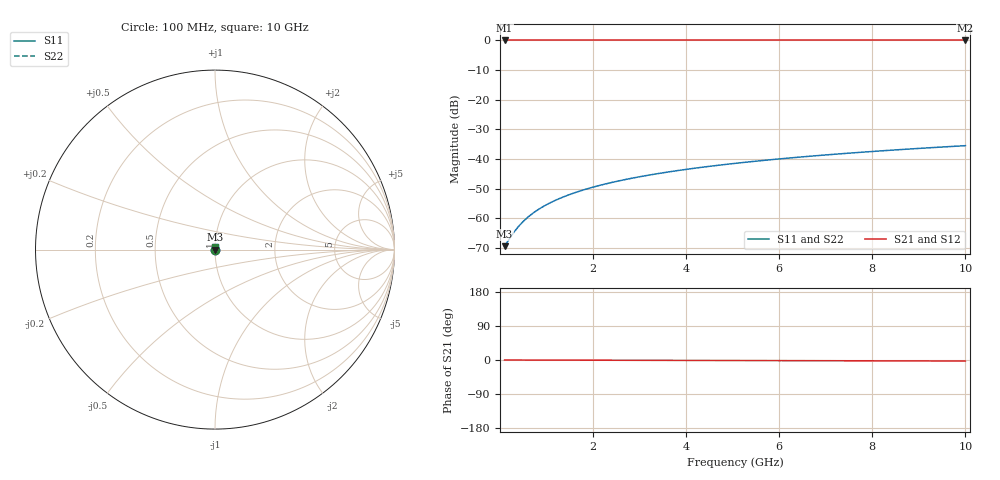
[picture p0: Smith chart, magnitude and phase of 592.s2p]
# Hz S RI R 50.00
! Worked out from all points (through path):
!   100 points, 100 MHz to 10 GHz, reference 50 ohm
!   highest |S21| = 0.00 dB at 100 MHz (marker M1); lowest = 0.0 dB at 10 GHz (marker M2)
!   lowest |S11| = -69.4 dB at 100 MHz (marker M3), VSWR 1.00, Z = 50 + j0.0167 ohm
!   |S11| at or under -10 dB: start of sweep to end of sweep
!   |S22| runs from -69.4 to -35.5 dB; largest |S21 - S12| = 0
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1e8  0.000296 0.000167  0.9997 -0.000472  0.9997 -0.000472  0.000296 0.000167
3e8  0.0003 0.000501  0.9997 -0.00142  0.9997 -0.00142  0.0003 0.000501
4e8  0.000301 0.000668  0.9997 -0.00189  0.9997 -0.00189  0.000301 0.000668
5e8  0.000303 0.000835  0.9997 -0.00236  0.9997 -0.00236  0.000303 0.000835
6e8  0.000304 0.001  0.9997 -0.00283  0.9997 -0.00283  0.000304 0.001
7e8  0.000306 0.00117  0.9997 -0.0033  0.9997 -0.0033  0.000306 0.00117
8e8  0.000308 0.00134  0.9997 -0.00377  0.9997 -0.00377  0.000308 0.00134
9e8  0.00031 0.0015  0.9997 -0.00425  0.9997 -0.00425  0.00031 0.0015
1e9  0.000312 0.00167  0.9997 -0.00472  0.9997 -0.00472  0.000312 0.00167
1.2e9  0.000316 0.002  0.9997 -0.00566  0.9997 -0.00566  0.000316 0.002
1.5e9  0.000324 0.00251  0.9997 -0.00708  0.9997 -0.00708  0.000324 0.00251
1.8e9  0.000333 0.00301  0.9996 -0.0085  0.9996 -0.0085  0.000333 0.00301
2.1e9  0.000343 0.00351  0.9996 -0.00991  0.9996 -0.00991  0.000343 0.00351
2.5e9  0.000359 0.00418  0.9996 -0.0118  0.9996 -0.0118  0.000359 0.00418
2.9e9  0.000377 0.00485  0.9996 -0.0137  0.9996 -0.0137  0.000377 0.00485
3.4e9  0.000403 0.00568  0.9995 -0.0161  0.9995 -0.0161  0.000403 0.00568
4.2e9  0.000452 0.00702  0.9995 -0.0198  0.9995 -0.0198  0.000452 0.00702
5.1e9  0.000521 0.00853  0.9993 -0.0241  0.9993 -0.0241  0.000521 0.00853
5.9e9  0.000592 0.00987  0.9992 -0.0279  0.9992 -0.0279  0.000592 0.00987
6.7e9  0.000674 0.0112  0.9991 -0.0317  0.9991 -0.0317  0.000674 0.0112
8.4e9  0.000882 0.0141  0.9988 -0.0398  0.9988 -0.0398  0.000882 0.0141
1e10  0.00112 0.0168  0.9984 -0.0474  0.9984 -0.0474  0.00112 0.0168
